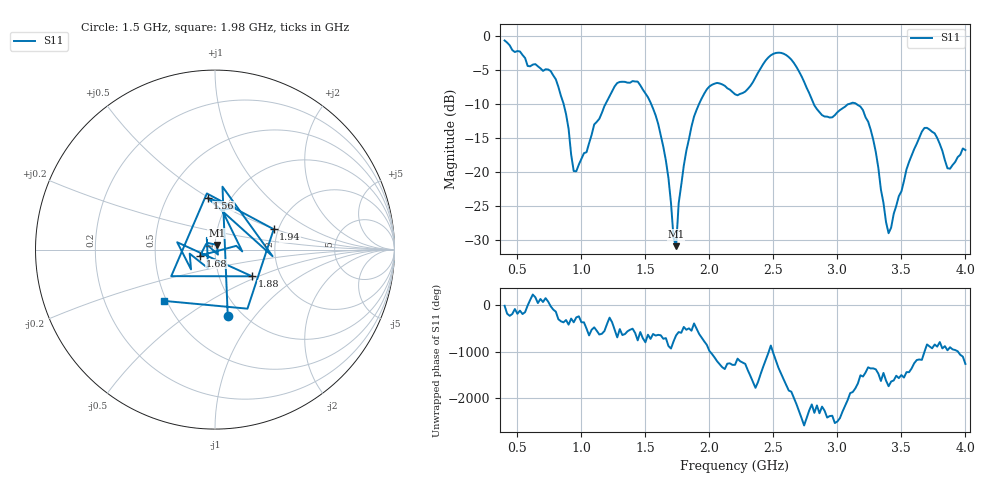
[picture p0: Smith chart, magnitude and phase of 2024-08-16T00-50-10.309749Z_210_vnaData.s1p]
!Created with skrf (http://scikit-rf.org).
# Hz S RI R 50.0
!freq ReS11 ImS11
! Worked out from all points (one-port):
!   181 points, 400 MHz to 4 GHz, reference 50 ohm
!   lowest |S11| = -31.0 dB at 1.74 GHz (marker M1), VSWR 1.06, Z = 50.9 + j2.7 ohm
!   |S11| at or under -10 dB: 860.5 MHz to 1.19 GHz (329.1 MHz wide, 32.1 % of centre); 1.544 GHz to 1.92 GHz (376.1 MHz wide, 21.7 % of centre); 3.145 GHz to end of sweep (the widest 3 of 4)
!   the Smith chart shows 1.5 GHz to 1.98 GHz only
!   S11 on the Smith chart (normalised r, x): 1.5 GHz: 0.86, -0.74; 1.56 GHz: 0.78, +0.49; 1.68 GHz: 0.84, -0.06; 1.88 GHz: 1.43, -0.46; 1.94 GHz: 1.89, +0.49; 1.98 GHz: 0.48, -0.33
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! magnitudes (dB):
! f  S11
! 400 MHz  -0.7
! 580 MHz  -4.4
! 760 MHz  -5.2
! 860 MHz  -10.0
! 940 MHz  -19.9
! 960 MHz  -19.9
! 1.3 GHz  -6.8
! 1.5 GHz  -8.5
! 1.56 GHz  -10.7
! 1.68 GHz  -20.9
! 1.72 GHz  -29.8
! 1.74 GHz  -31.0
! 1.76 GHz  -24.6
! 1.88 GHz  -11.9
! 1.94 GHz  -9.2
! 1.98 GHz  -7.9
! 2.2 GHz  -8.6
! 2.5 GHz  -2.7
! 2.66 GHz  -4.0
! 2.88 GHz  -11.7
! 3.1 GHz  -10.0
! 3.26 GHz  -13.8
! 3.4 GHz  -29.1
! 3.56 GHz  -18.6
! 3.68 GHz  -13.6
! 3.76 GHz  -14.4
! 3.86 GHz  -19.5
! 4 GHz  -16.8
